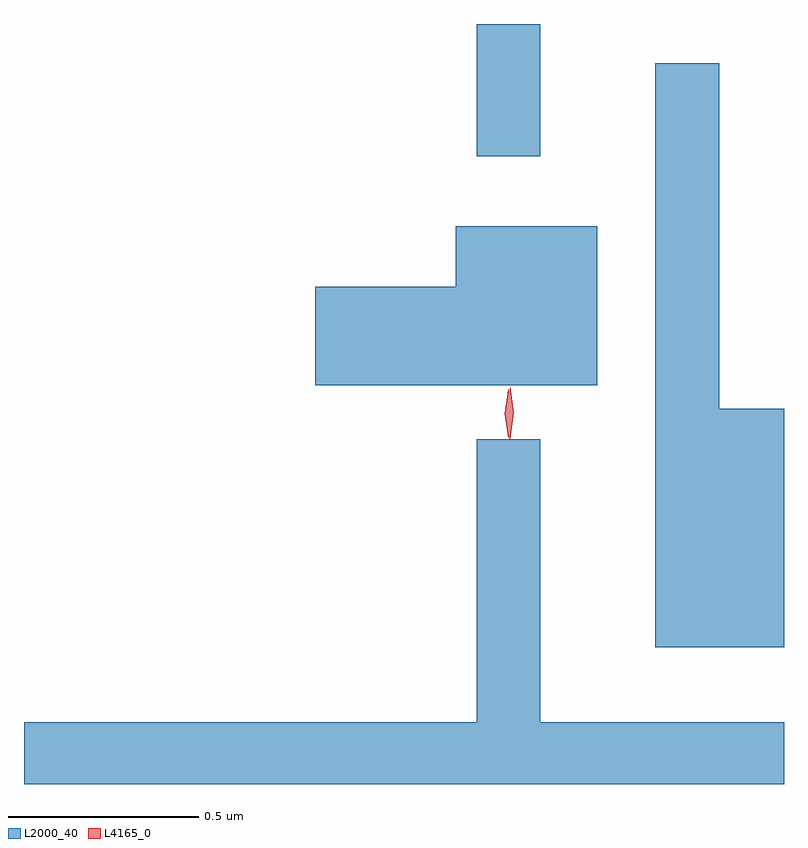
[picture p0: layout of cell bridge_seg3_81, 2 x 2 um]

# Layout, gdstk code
import gdstk
lib = gdstk.Library(unit=1e-6, precision=1e-09)
def R(c, l, rs):  # rectangles x0, y0, x1, y1
    for r in rs: c.add(gdstk.rectangle(r[:2], r[2:], *l))
def P(c, l, *ps):  # polygons
    for p in ps: c.add(gdstk.Polygon(p, *l))
L2000_40 = (2000, 40)
L4165_0 = (4165, 0)

bridge_seg3_81 = lib.new_cell('bridge_seg3_81')
R(bridge_seg3_81, L2000_40, [(1128.511,1161.073,1128.679,1161.421)])
P(bridge_seg3_81, L2000_40, [(1129.32,1160.409),(1129.149,1160.409),(1129.149,1161.318),(1128.981,1161.318),(1128.981,1159.781),(1129.32,1159.781)],
  [(1128.829,1160.889),(1128.456,1160.889),(1128.456,1160.729),(1128.086,1160.729),(1128.086,1160.471),(1128.829,1160.471)],
  [(1129.32,1159.584),(1128.679,1159.584),(1128.679,1160.328),(1128.511,1160.328),(1128.511,1159.584),(1127.32,1159.584),(1127.32,1159.421),(1129.32,1159.421)])
P(bridge_seg3_81, L4165_0, [(1128.598,1160.33),(1128.598,1160.33),(1128.589,1160.398),(1128.6,1160.466),(1128.6,1160.466),(1128.6,1160.466),(1128.609,1160.398),(1128.599,1160.33)],
  [(1128.594,1160.333),(1128.585,1160.396),(1128.594,1160.459),(1128.594,1160.46),(1128.595,1160.459),(1128.605,1160.396),(1128.596,1160.333),(1128.595,1160.333)])

lib.write_gds('bridge_seg3_81.gds')
